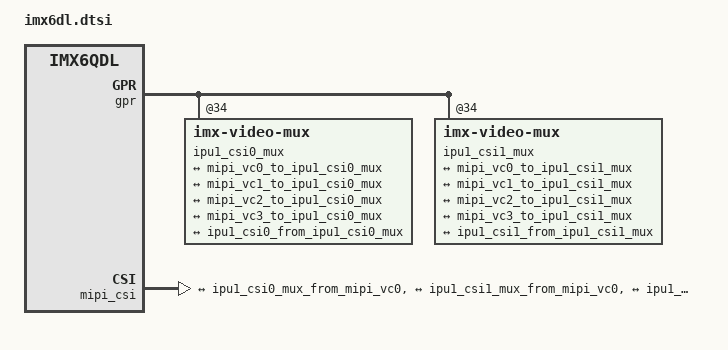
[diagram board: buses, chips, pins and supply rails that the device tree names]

/*
 * Copyright 2013 Freescale Semiconductor, Inc.
 *
 * This program is free software; you can redistribute it and/or modify
 * it under the terms of the GNU General Public License version 2 as
 * published by the Free Software Foundation.
 *
 */

#include <dt-bindings/interrupt-controller/irq.h>
#include "imx6dl-pinfunc.h"
#include "imx6qdl.dtsi"

/ {
	cpus {
		#address-cells = <1>;
		#size-cells = <0>;

		cpu@0 {
			compatible = "arm,cortex-a9";
			device_type = "cpu";
			reg = <0>;
			next-level-cache = <&L2>;
			operating-points = <
				/* kHz    uV */
				996000  1275000
				792000  1175000
				396000  1075000
			>;
			fsl,soc-operating-points = <
				/* ARM kHz  SOC-PU uV */
				996000	1175000
				792000	1175000
				396000	1175000
			>;
			clock-latency = <61036>; /* two CLK32 periods */
			clocks = <&clks 104>, <&clks 6>, <&clks 16>,
				 <&clks 17>, <&clks 170>;
			clock-names = "arm", "pll2_pfd2_396m", "step",
				      "pll1_sw", "pll1_sys";
			arm-supply = <&reg_arm>;
			pu-supply = <&reg_pu>;
			soc-supply = <&reg_soc>;
		};

		cpu@1 {
			compatible = "arm,cortex-a9";
			device_type = "cpu";
			reg = <1>;
			next-level-cache = <&L2>;
		};
	};

	soc {
		ocram: sram@00900000 {
			compatible = "mmio-sram";
			reg = <0x00900000 0x20000>;
			clocks = <&clks 142>;
		};

		aips1: aips-bus@02000000 {
			iomuxc: iomuxc@020e0000 {
				compatible = "fsl,imx6dl-iomuxc";
			};

			pxp: pxp@020f0000 {
				reg = <0x020f0000 0x4000>;
				interrupts = <0 98 IRQ_TYPE_LEVEL_HIGH>;
			};

			epdc: epdc@020f4000 {
				reg = <0x020f4000 0x4000>;
				interrupts = <0 97 IRQ_TYPE_LEVEL_HIGH>;
			};

			lcdif: lcdif@020f8000 {
				reg = <0x020f8000 0x4000>;
				interrupts = <0 39 IRQ_TYPE_LEVEL_HIGH>;
			};
		};

		aips2: aips-bus@02100000 {
			i2c4: i2c@021f8000 {
				#address-cells = <1>;
				#size-cells = <0>;
				compatible = "fsl,imx6q-i2c", "fsl,imx21-i2c";
				reg = <0x021f8000 0x4000>;
				interrupts = <0 35 IRQ_TYPE_LEVEL_HIGH>;
				clocks = <&clks 116>;
				status = "disabled";
			};
		};
	};

	display-subsystem {
		compatible = "fsl,imx-display-subsystem";
		ports = <&ipu1_di0>, <&ipu1_di1>;
	};
};

&hdmi {
	compatible = "fsl,imx6dl-hdmi";
};

&ldb {
	clocks = <&clks 33>, <&clks 34>,
		 <&clks 39>, <&clks 40>,
		 <&clks 135>, <&clks 136>;
	clock-names = "di0_pll", "di1_pll",
		      "di0_sel", "di1_sel",
		      "di0", "di1";
};

&gpr {
	ipu1_csi0_mux {
		compatible = "imx-video-mux";
		reg = <0x34>;
		bit-mask = <0x7>;
		bit-shift = <0>;
		#address-cells = <1>;
		#size-cells = <0>;

		port@0 {
			reg = <0>;

			ipu1_csi0_mux_from_mipi_vc0: endpoint {
				remote-endpoint = <&mipi_vc0_to_ipu1_csi0_mux>;
			};
		};

		port@1 {
			reg = <1>;

			ipu1_csi0_mux_from_mipi_vc1: endpoint {
				remote-endpoint = <&mipi_vc1_to_ipu1_csi0_mux>;
			};
		};

		port@2 {
			reg = <2>;

			ipu1_csi0_mux_from_mipi_vc2: endpoint {
				remote-endpoint = <&mipi_vc2_to_ipu1_csi0_mux>;
			};
		};

		port@3 {
			reg = <3>;

			ipu1_csi0_mux_from_mipi_vc3: endpoint {
				remote-endpoint = <&mipi_vc3_to_ipu1_csi0_mux>;
			};
		};

		csi0: port@4 {
			reg = <4>;
		};

		port@5 {
			reg = <5>;

			ipu1_csi0_mux_to_ipu1_csi0: endpoint {
				remote-endpoint = <&ipu1_csi0_from_ipu1_csi0_mux>;
			};
		};
	};

	ipu1_csi1_mux {
		compatible = "imx-video-mux";
		reg = <0x34>;
		bit-mask = <0x7>;
		bit-shift = <3>;
		#address-cells = <1>;
		#size-cells = <0>;

		port@0 {
			reg = <0>;

			ipu1_csi1_mux_from_mipi_vc0: endpoint {
				remote-endpoint = <&mipi_vc0_to_ipu1_csi1_mux>;
			};
		};

		port@1 {
			reg = <1>;

			ipu1_csi1_mux_from_mipi_vc1: endpoint {
				remote-endpoint = <&mipi_vc1_to_ipu1_csi1_mux>;
			};
		};

		port@2 {
			reg = <2>;

			ipu1_csi1_mux_from_mipi_vc2: endpoint {
				remote-endpoint = <&mipi_vc2_to_ipu1_csi1_mux>;
			};
		};

		port@3 {
			reg = <3>;

			ipu1_csi1_mux_from_mipi_vc3: endpoint {
				remote-endpoint = <&mipi_vc3_to_ipu1_csi1_mux>;
			};
		};

		csi1: port@4 {
			reg = <4>;
		};

		port@5 {
			reg = <5>;

			ipu1_csi1_mux_to_ipu1_csi1: endpoint {
				remote-endpoint = <&ipu1_csi1_from_ipu1_csi1_mux>;
			};
		};
	};
};

&mipi_csi {
	port@0 {
		reg = <0>;
	};

	port@1 {
		reg = <1>;
		#address-cells = <1>;
		#size-cells = <0>;

		mipi_vc0_to_ipu1_csi0_mux: endpoint@0 {
			remote-endpoint = <&ipu1_csi0_mux_from_mipi_vc0>;
		};

		mipi_vc0_to_ipu1_csi1_mux: endpoint@1 {
			remote-endpoint = <&ipu1_csi1_mux_from_mipi_vc0>;
		};
	};

	port@2 {
		reg = <2>;
		#address-cells = <1>;
		#size-cells = <0>;

		mipi_vc1_to_ipu1_csi0_mux: endpoint@0 {
			remote-endpoint = <&ipu1_csi0_mux_from_mipi_vc1>;
		};

		mipi_vc1_to_ipu1_csi1_mux: endpoint@1 {
			remote-endpoint = <&ipu1_csi1_mux_from_mipi_vc1>;
		};
	};

	port@3 {
		reg = <3>;
		#address-cells = <1>;
		#size-cells = <0>;

		mipi_vc2_to_ipu1_csi0_mux: endpoint@0 {
			remote-endpoint = <&ipu1_csi0_mux_from_mipi_vc2>;
		};

		mipi_vc2_to_ipu1_csi1_mux: endpoint@1 {
			remote-endpoint = <&ipu1_csi1_mux_from_mipi_vc2>;
		};
	};

	port@4 {
		reg = <4>;
		#address-cells = <1>;
		#size-cells = <0>;

		mipi_vc3_to_ipu1_csi0_mux: endpoint@0 {
			remote-endpoint = <&ipu1_csi0_mux_from_mipi_vc3>;
		};

		mipi_vc3_to_ipu1_csi1_mux: endpoint@1 {
			remote-endpoint = <&ipu1_csi1_mux_from_mipi_vc3>;
		};
	};
};
